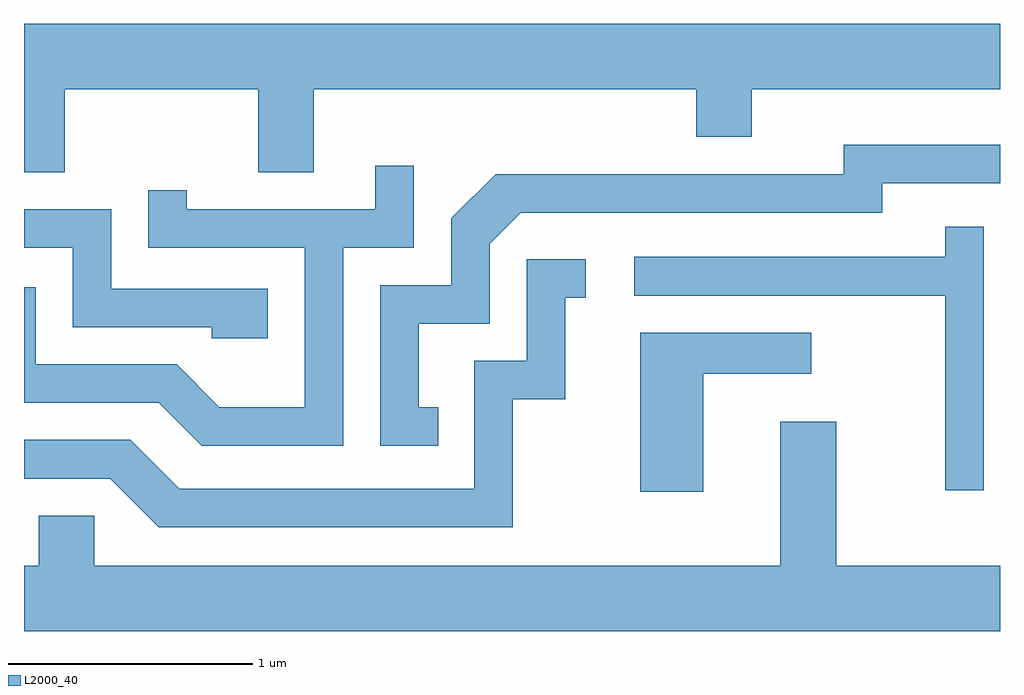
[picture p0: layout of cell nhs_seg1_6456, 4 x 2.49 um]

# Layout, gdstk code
import gdstk
lib = gdstk.Library(unit=1e-6, precision=1e-09)
def P(c, l, *ps):  # polygons
    for p in ps: c.add(gdstk.Polygon(p, *l))
L2000_40 = (2000, 40)

nhs_seg1_6456 = lib.new_cell('nhs_seg1_6456')
P(nhs_seg1_6456, L2000_40, [(379.779,910.676),(380.571,910.676),(380.571,910.336),(380.799,910.336),(380.799,910.676),(382.366,910.676),(382.366,910.481),(382.594,910.481),(382.594,910.676),(383.611,910.676),(383.611,910.944),(379.611,910.944),(379.611,910.336),(379.779,910.336)],
  [(381.308,909.374),(381.229,909.374),(381.229,909.716),(381.519,909.716),(381.519,910.044),(381.647,910.171),(383.129,910.171),(383.129,910.291),(383.611,910.291),(383.611,910.449),(382.971,910.449),(382.971,910.329),(381.544,910.329),(381.361,910.147),(381.361,909.874),(381.071,909.874),(381.071,909.216),(381.308,909.216)],
  [(380.919,910.026),(381.209,910.026),(381.209,910.363),(381.051,910.363),(381.051,910.184),(380.279,910.184),(380.279,910.263),(380.121,910.263),(380.121,910.026),(380.761,910.026),(380.761,909.374),(380.412,909.374),(380.237,909.549),(379.659,909.549),(379.659,909.864),(379.611,909.864),(379.611,909.391),(380.164,909.391),(380.339,909.216),(380.919,909.216)],
  [(380.609,909.859),(379.969,909.859),(379.969,910.184),(379.611,910.184),(379.611,910.026),(379.811,910.026),(379.811,909.701),(380.381,909.701),(380.381,909.656),(380.609,909.656)],
  [(383.544,910.113),(383.386,910.113),(383.386,909.989),(382.113,909.989),(382.113,909.831),(383.386,909.831),(383.386,909.033),(383.544,909.033)],
  [(381.614,909.406),(381.829,909.406),(381.829,909.821),(381.913,909.821),(381.913,909.979),(381.671,909.979),(381.671,909.564),(381.456,909.564),(381.456,909.039),(380.247,909.039),(380.047,909.239),(379.611,909.239),(379.611,909.081),(379.964,909.081),(380.164,908.881),(381.614,908.881)],
  [(382.394,909.511),(382.838,909.511),(382.838,909.679),(382.136,909.679),(382.136,909.026),(382.394,909.026)],
  [(383.611,908.724),(382.939,908.724),(382.939,909.314),(382.711,909.314),(382.711,908.724),(379.899,908.724),(379.899,908.929),(379.671,908.929),(379.671,908.724),(379.611,908.724),(379.611,908.456),(383.611,908.456)])

lib.write_gds('nhs_seg1_6456.gds')
